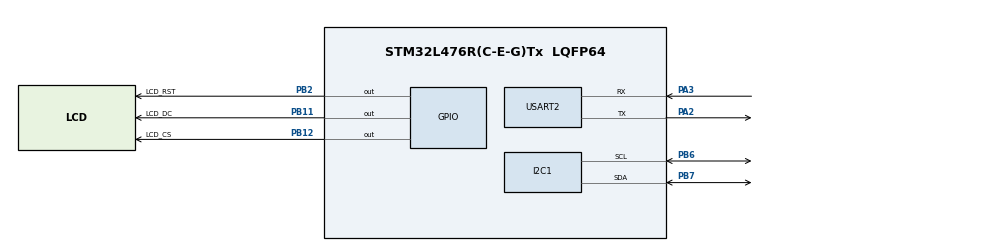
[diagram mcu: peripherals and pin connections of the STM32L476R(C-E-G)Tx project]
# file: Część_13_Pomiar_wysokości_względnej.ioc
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I2C1.Timing=0x00100D14
Mcu.Family=STM32L4
Mcu.Name=STM32L476R(C-E-G)Tx
Mcu.Package=LQFP64
NVIC.PriorityGroup=NVIC_PRIORITYGROUP_4
PA2.Mode=Asynchronous
PA2.Signal=USART2_TX
PA3.Mode=Asynchronous
PA3.Signal=USART2_RX
PB11.GPIO_Label=LCD_DC
PB11.Signal=GPIO_Output
PB12.GPIO_Label=LCD_CS
PB12.PinState=GPIO_PIN_SET
PB12.Signal=GPIO_Output
PB2.GPIO_Label=LCD_RST
PB2.Signal=GPIO_Output
PB6.Mode=I2C
PB6.Signal=I2C1_SCL
PB7.Mode=I2C
PB7.Signal=I2C1_SDA
ProjectManager.HeapSize=0x200
ProjectManager.StackSize=0x400
ProjectManager.TargetToolchain=STM32CubeIDE
RCC.HSE_VALUE=8000000
RCC.HSI_VALUE=16000000
RCC.LSE_VALUE=32768
RCC.MSI_VALUE=4000000
RCC.VCOOutputFreq_Value=32000000
USART2.VirtualMode-Asynchronous=VM_ASYNC
board=custom

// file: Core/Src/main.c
/* USER CODE BEGIN Header */
/**
  ******************************************************************************
  * @file           : main.c
  * @brief          : Main program body
  ******************************************************************************
  * @attention
  *
  * Copyright (c) 2026 STMicroelectronics.
  * All rights reserved.
  *
  * This software is licensed under terms that can be found in the LICENSE file
  * in the root directory of this software component.
  * If no LICENSE file comes with this software, it is provided AS-IS.
  *
  ******************************************************************************
  */
/* USER CODE END Header */
#include "main.h"
#include "i2c.h"
#include "usart.h"
#include "gpio.h"

/* USER CODE BEGIN Includes */
#include "lps25hb.h"
#include <stdio.h>
#include <math.h>

/* USER CODE END Includes */

void SystemClock_Config(void);

/* USER CODE BEGIN 0 */
int __io_putchar(int ch)
{
  if (ch == '\n') {
    __io_putchar('\r');
  }
  HAL_UART_Transmit(&huart2, (uint8_t*)&ch, 1, HAL_MAX_DELAY);
  return 1;
}
/* USER CODE END 0 */

int main(void)
{

  /* MCU Configuration--------------------------------------------------------*/

  /* Reset of all peripherals, Initializes the Flash interface and the Systick. */
  HAL_Init();

  /* Configure the system clock */
  SystemClock_Config();

  /* Initialize all configured peripherals */
  MX_GPIO_Init();
  MX_USART2_UART_Init();
  MX_I2C1_Init();
  /* USER CODE BEGIN 2 */
  lps25hb_set_calib(-107);
  /* USER CODE END 2 */

  /* Infinite loop */
  /* USER CODE BEGIN WHILE */

  printf("Searching...\n");
  if (lps25hb_init() == HAL_OK) {
    printf("OK: LPS25HB\n");
  } else {
    printf("Error: LPS25HB not found\n");
    Error_Handler();
  }
  HAL_Delay(5000);
  float p0 = lps25hb_read_pressure();

  while (1)
  {
    /* USER CODE END WHILE */
	  float temp = lps25hb_read_temp() + 273.15;
	  float p = lps25hb_read_pressure();
	  float h = -29.271769 * temp * log(p / p0);

	  printf("T = %.1f*C\n", lps25hb_read_temp());
	  printf("p0 = %.2f hPa\n", p0);
	  printf("h = %.2f m\n", h);
	  HAL_Delay(1000);
  }
}

void SystemClock_Config(void)
{
  RCC_OscInitTypeDef RCC_OscInitStruct = {0};
  RCC_ClkInitTypeDef RCC_ClkInitStruct = {0};

  /** Configure the main internal regulator output voltage
  */
  if (HAL_PWREx_ControlVoltageScaling(PWR_REGULATOR_VOLTAGE_SCALE1) != HAL_OK)
  {
    Error_Handler();
  }

  /** Initializes the RCC Oscillators according to the specified parameters
  * in the RCC_OscInitTypeDef structure.
  */
  RCC_OscInitStruct.OscillatorType = RCC_OSCILLATORTYPE_MSI;
  RCC_OscInitStruct.MSIState = RCC_MSI_ON;
  RCC_OscInitStruct.MSICalibrationValue = 0;
  RCC_OscInitStruct.MSIClockRange = RCC_MSIRANGE_6;
  RCC_OscInitStruct.PLL.PLLState = RCC_PLL_NONE;
  if (HAL_RCC_OscConfig(&RCC_OscInitStruct) != HAL_OK)
  {
    Error_Handler();
  }

  /** Initializes the CPU, AHB and APB buses clocks
  */
  RCC_ClkInitStruct.ClockType = RCC_CLOCKTYPE_HCLK|RCC_CLOCKTYPE_SYSCLK
                              |RCC_CLOCKTYPE_PCLK1|RCC_CLOCKTYPE_PCLK2;
  RCC_ClkInitStruct.SYSCLKSource = RCC_SYSCLKSOURCE_MSI;
  RCC_ClkInitStruct.AHBCLKDivider = RCC_SYSCLK_DIV1;
  RCC_ClkInitStruct.APB1CLKDivider = RCC_HCLK_DIV1;
  RCC_ClkInitStruct.APB2CLKDivider = RCC_HCLK_DIV1;

  if (HAL_RCC_ClockConfig(&RCC_ClkInitStruct, FLASH_LATENCY_0) != HAL_OK)
  {
    Error_Handler();
  }
}

void Error_Handler(void)
{
  __disable_irq();
  while (1)
  {
  }
}
